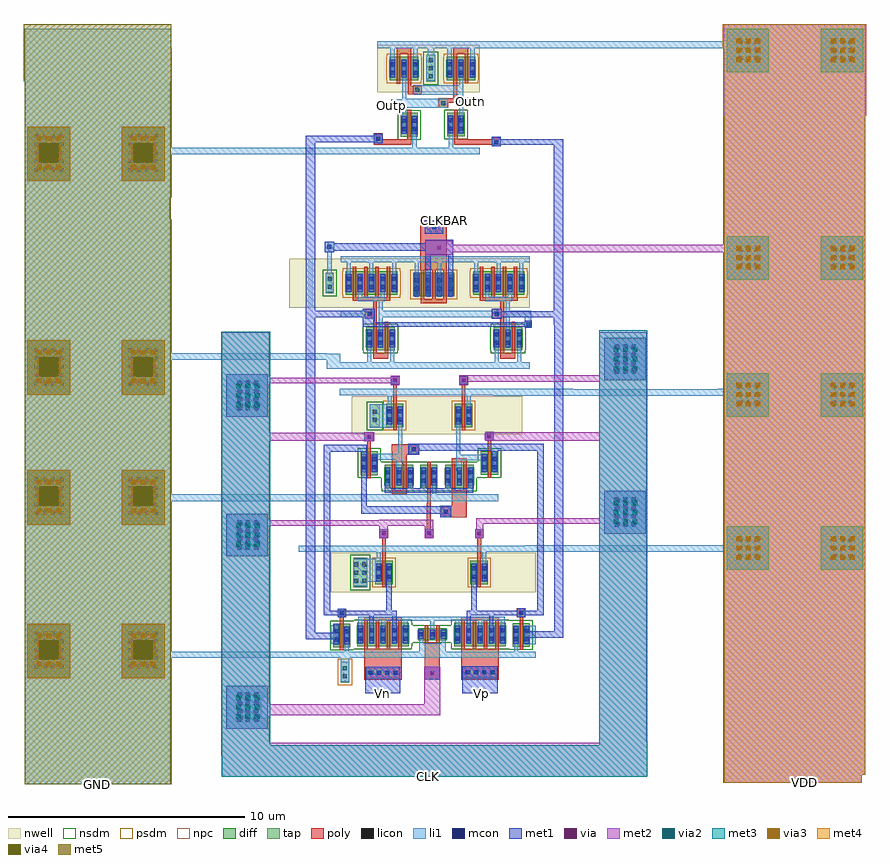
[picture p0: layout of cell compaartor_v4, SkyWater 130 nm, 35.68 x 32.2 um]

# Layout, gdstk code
import gdstk
lib = gdstk.Library(unit=1e-6, precision=1e-09)
def R(c, l, rs):  # rectangles x0, y0, x1, y1
    for r in rs: c.add(gdstk.rectangle(r[:2], r[2:], *l))
def A(c, l, x, y, w, h, nx, ny, dx, dy):  # array of equal rectangles
    R(c, l, [(x+i*dx, y+j*dy, x+i*dx+w, y+j*dy+h) for i in range(nx) for j in range(ny)])
nwell = (64, 20)
diff = (65, 20)
tap = (65, 44)
poly = (66, 20)
licon = (66, 44)
li1 = (67, 20)
mcon = (67, 44)
met1 = (68, 20)
via = (68, 44)
met2 = (69, 20)
via2 = (69, 44)
met3 = (70, 20)
via3 = (70, 44)
met4 = (71, 20)
via4 = (71, 44)
met5 = (72, 20)
nsdm = (93, 44)
psdm = (94, 20)
npc = (95, 20)

sky130_fd_pr__pfet_01v8_ = lib.new_cell('sky130_fd_pr__pfet_01v8_RFM3CD')
R(sky130_fd_pr__pfet_01v8_, nwell, [(-0.545,-0.81,0.545,0.81)])
R(sky130_fd_pr__pfet_01v8_, diff, [(-0.365,-0.5,0.365,0.5)])
R(sky130_fd_pr__pfet_01v8_, poly, [(-0.075,-0.63,0.075,0.63)])
R(sky130_fd_pr__pfet_01v8_, licon, [(-0.305,-0.255,-0.135,-0.085), (0.135,-0.255,0.305,-0.085), (-0.305,0.085,-0.135,0.255), (0.135,0.085,0.305,0.255)])
R(sky130_fd_pr__pfet_01v8_, li1, [(-0.305,-0.39,-0.135,0.39), (0.135,-0.39,0.305,0.39)])
R(sky130_fd_pr__pfet_01v8_, mcon, [(-0.305,-0.265,-0.135,-0.095), (0.135,-0.265,0.305,-0.095), (-0.305,0.095,-0.135,0.265), (0.135,0.095,0.305,0.265)])
R(sky130_fd_pr__pfet_01v8_, met1, [(-0.335,-0.37,-0.105,0.37), (0.105,-0.37,0.335,0.37)])
R(sky130_fd_pr__pfet_01v8_, psdm, [(-0.49,-0.625,0.49,0.625)])

sky130_fd_pr__nfet_01v8_ = lib.new_cell('sky130_fd_pr__nfet_01v8_XJTKXQ#0')
R(sky130_fd_pr__nfet_01v8_, diff, [(-0.605,-0.5,0.605,-0.37), (-0.625,-0.37,0.625,0.37), (-0.605,0.37,0.605,0.5)])
R(sky130_fd_pr__nfet_01v8_, poly, [(-0.315,-0.76,0.315,-0.59), (-0.315,-0.59,-0.165,0.61), (0.165,-0.59,0.315,0.61), (-0.315,0.61,0.315,0.77)])
A(sky130_fd_pr__nfet_01v8_, licon, -0.565, -0.255, 0.17, 0.17, 3, 2, 0.48, 0.34)
A(sky130_fd_pr__nfet_01v8_, li1, -0.565, -0.39, 0.17, 0.78, 3, 1, 0.48, 0)
A(sky130_fd_pr__nfet_01v8_, mcon, -0.565, -0.265, 0.17, 0.17, 3, 2, 0.48, 0.36)
A(sky130_fd_pr__nfet_01v8_, met1, -0.595, -0.37, 0.23, 0.74, 3, 1, 0.48, 0)
R(sky130_fd_pr__nfet_01v8_, nsdm, [(-0.73,-0.625,0.73,-0.495), (-0.75,-0.495,0.75,0.495), (-0.73,0.495,0.73,0.625)])

c_sky130_fd_pr__nfet_01v8_ = lib.new_cell('sky130_fd_pr__nfet_01v8_F5U58G#0')
R(c_sky130_fd_pr__nfet_01v8_, diff, [(-0.365,-0.5,0.365,0.5)])
R(c_sky130_fd_pr__nfet_01v8_, poly, [(-0.075,-0.63,0.075,0.63)])
R(c_sky130_fd_pr__nfet_01v8_, licon, [(-0.305,-0.255,-0.135,-0.085), (0.135,-0.255,0.305,-0.085), (-0.305,0.085,-0.135,0.255), (0.135,0.085,0.305,0.255)])
R(c_sky130_fd_pr__nfet_01v8_, li1, [(-0.305,-0.39,-0.135,0.39), (0.135,-0.39,0.305,0.39)])
R(c_sky130_fd_pr__nfet_01v8_, mcon, [(-0.305,-0.265,-0.135,-0.095), (0.135,-0.265,0.305,-0.095), (-0.305,0.095,-0.135,0.265), (0.135,0.095,0.305,0.265)])
R(c_sky130_fd_pr__nfet_01v8_, met1, [(-0.335,-0.37,-0.105,0.37), (0.105,-0.37,0.335,0.37)])
R(c_sky130_fd_pr__nfet_01v8_, nsdm, [(-0.49,-0.625,0.49,0.625)])

preamp_part2 = lib.new_cell('preamp_part2')
R(preamp_part2, poly, [(3.96,0.01,5.08,0.46), (4.45,0.46,5.08,1.13), (1.9,2.4,2.53,2.65), (1.9,2.65,3.07,3.1), (0.87,2.88,1.02,3.22), (5.97,2.9,6.12,3.26), (0.74,3.22,1.15,3.61), (5.85,3.26,6.23,3.57)])
R(preamp_part2, licon, [(4.11,0.16,4.28,0.33), (2.75,2.8,2.92,2.97), (0.86,3.33,1.03,3.5), (5.955,3.345,6.125,3.515)])
R(preamp_part2, li1, [(3.96,0.01,4.43,0.48), (0.58,0.69,6.41,0.98), (3.61,0.98,3.78,1.35), (4.64,1.97,4.88,2.42), (2.1,1.98,2.34,2.44), (4.64,2.42,5.94,2.66), (1.05,2.44,2.34,2.69), (2.6,2.65,3.07,3.12), (4.64,2.66,4.81,3.95), (2.17,2.69,2.34,3.98), (0.74,3.22,1.15,3.61), (5.85,3.26,6.23,3.57), (5.08,4.66,5.25,5.17), (1.73,4.69,1.9,5.17), (0.58,5.17,6.41,5.44)])
R(preamp_part2, mcon, [(4.11,0.16,4.28,0.33), (2.75,2.8,2.92,2.97), (0.86,3.33,1.03,3.5), (5.955,3.345,6.125,3.515)])
R(preamp_part2, met1, [(3.96,0.01,4.43,0.15), (0.61,0.15,4.43,0.46), (0.61,0.46,0.84,1.99), (3.96,0.46,4.43,0.48), (1.61,1.03,5.36,1.22), (1.61,1.22,1.85,1.44), (2.58,1.22,2.81,1.42), (3.14,1.22,3.37,1.46), (4.17,1.22,4.4,1.48), (5.13,1.22,5.36,1.42), (6.15,2.6,6.38,2.81), (2.6,2.65,3.07,2.81), (2.6,2.81,6.38,3.12), (0.74,3.22,1.15,3.61), (5.85,3.26,6.23,3.57)])
R(preamp_part2, via, [(0.87,3.34,1.02,3.49), (5.965,3.345,6.115,3.495)])
R(preamp_part2, met2, [(0.74,3.22,1.15,3.61), (5.9,3.24,6.18,3.26), (5.84,3.26,6.23,3.57), (5.9,3.57,6.18,3.6)])
R(preamp_part2, nsdm, [(2.945,1.105,2.985,1.235), (3.965,1.105,4.035,1.235), (2.965,1.235,2.985,2.225), (3.965,1.235,4.015,2.225), (1.435,1.665,1.465,2.225), (5.515,1.675,5.555,2.225), (1.435,2.225,1.485,2.355), (2.945,2.225,2.985,2.355), (3.965,2.225,4.035,2.355), (5.495,2.225,5.555,2.355)])
R(preamp_part2, npc, [(4.01,0.06,4.38,0.43), (2.65,2.7,3.02,3.07), (0.76,3.23,1.13,3.6), (5.855,3.245,6.225,3.615)])
preamp_part2.add(gdstk.Reference(sky130_fd_pr__pfet_01v8_, (4.945,4.32)))
preamp_part2.add(gdstk.Reference(sky130_fd_pr__pfet_01v8_, (2.035,4.32)))
preamp_part2.add(gdstk.Reference(sky130_fd_pr__nfet_01v8_, (4.765,1.73)))
preamp_part2.add(gdstk.Reference(sky130_fd_pr__nfet_01v8_, (2.215,1.73)))
preamp_part2.add(gdstk.Reference(c_sky130_fd_pr__nfet_01v8_, (6.045,2.3)))
preamp_part2.add(gdstk.Reference(c_sky130_fd_pr__nfet_01v8_, (0.945,2.29)))
preamp_part2.add(gdstk.Reference(c_sky130_fd_pr__nfet_01v8_, (3.475,1.73)))
preamp_part2.add(gdstk.Label('VDD', (6.41,5.31), layer=67, texttype=5))
preamp_part2.add(gdstk.Label('GND', (6.41,0.84), layer=67, texttype=5))

c_sky130_fd_pr__nfet_01v8__ = lib.new_cell('sky130_fd_pr__nfet_01v8_G6PLX8')
R(c_sky130_fd_pr__nfet_01v8__, diff, [(-1.085,-0.5,1.085,-0.37), (-1.105,-0.37,1.105,0.37), (-1.085,0.37,1.085,0.5)])
A(c_sky130_fd_pr__nfet_01v8__, poly, -0.795, -0.61, 0.15, 1.21, 4, 1, 0.48, 0)
R(c_sky130_fd_pr__nfet_01v8__, poly, [(-0.795,0.6,0.795,0.75)])
A(c_sky130_fd_pr__nfet_01v8__, licon, -1.045, -0.255, 0.17, 0.17, 5, 2, 0.48, 0.34)
A(c_sky130_fd_pr__nfet_01v8__, li1, -1.045, -0.39, 0.17, 0.78, 5, 1, 0.48, 0)
A(c_sky130_fd_pr__nfet_01v8__, mcon, -1.045, -0.265, 0.17, 0.17, 5, 2, 0.48, 0.36)
A(c_sky130_fd_pr__nfet_01v8__, met1, -1.075, -0.37, 0.23, 0.74, 5, 1, 0.48, 0)
R(c_sky130_fd_pr__nfet_01v8__, nsdm, [(-1.21,-0.625,1.21,-0.495), (-1.23,-0.495,1.23,0.495), (-1.21,0.495,1.21,0.625)])

c_sky130_fd_pr__nfet_01v8___ = lib.new_cell('sky130_fd_pr__nfet_01v8_F5U58G#1')
R(c_sky130_fd_pr__nfet_01v8___, diff, [(-0.365,-0.5,0.365,0.5)])
R(c_sky130_fd_pr__nfet_01v8___, poly, [(-0.075,-0.63,0.075,0.63)])
R(c_sky130_fd_pr__nfet_01v8___, licon, [(-0.305,-0.255,-0.135,-0.085), (0.135,-0.255,0.305,-0.085), (-0.305,0.085,-0.135,0.255), (0.135,0.085,0.305,0.255)])
R(c_sky130_fd_pr__nfet_01v8___, li1, [(-0.305,-0.39,-0.135,0.39), (0.135,-0.39,0.305,0.39)])
R(c_sky130_fd_pr__nfet_01v8___, mcon, [(-0.305,-0.265,-0.135,-0.095), (0.135,-0.265,0.305,-0.095), (-0.305,0.095,-0.135,0.265), (0.135,0.095,0.305,0.265)])
R(c_sky130_fd_pr__nfet_01v8___, met1, [(-0.335,-0.37,-0.105,0.37), (0.105,-0.37,0.335,0.37)])
R(c_sky130_fd_pr__nfet_01v8___, nsdm, [(-0.49,-0.625,0.49,0.625)])

c_sky130_fd_pr__nfet_01v8____ = lib.new_cell('sky130_fd_pr__nfet_01v8_8FHE5N')
R(c_sky130_fd_pr__nfet_01v8____, diff, [(-0.605,-0.25,0.605,-0.195), (-0.625,-0.195,0.625,0.195), (-0.605,0.195,0.605,0.25)])
R(c_sky130_fd_pr__nfet_01v8____, poly, [(-0.315,-0.38,-0.165,0.38), (0.165,-0.38,0.315,0.38)])
A(c_sky130_fd_pr__nfet_01v8____, licon, -0.565, -0.085, 0.17, 0.17, 3, 1, 0.48, 0)
A(c_sky130_fd_pr__nfet_01v8____, li1, -0.565, -0.215, 0.17, 0.43, 3, 1, 0.48, 0)
A(c_sky130_fd_pr__nfet_01v8____, mcon, -0.565, -0.085, 0.17, 0.17, 3, 1, 0.48, 0)
A(c_sky130_fd_pr__nfet_01v8____, met1, -0.595, -0.195, 0.23, 0.39, 3, 1, 0.48, 0)
R(c_sky130_fd_pr__nfet_01v8____, nsdm, [(-0.73,-0.375,0.73,-0.32), (-0.75,-0.32,0.75,0.32), (-0.73,0.32,0.73,0.375)])

preamp_part1 = lib.new_cell('preamp_part1')
R(preamp_part1, nwell, [(-3.6,2.41,5.09,4.08)])
A(preamp_part1, poly, 1.94, -0.01, 0.15, 0.03, 4, 1, 0.48, 0)
A(preamp_part1, poly, -2.17, 0.02, 0.15, 0.01, 4, 1, 0.48, 0)
R(preamp_part1, poly, [(-2.17,-1.3,-0.58,0.02), (1.94,-1.3,3.53,-0.01), (0.4,-1.29,1.03,0.29), (4.41,1.17,4.56,1.35), (-3.2,1.21,-3.05,1.34), (-3.28,1.34,-2.97,1.71), (4.32,1.35,4.63,1.72), (-1.41,3.77,-1.26,4.7), (2.62,3.82,2.78,4.7), (-1.51,4.7,-1.17,5.08), (2.53,4.7,2.87,5.08)])
A(preamp_part1, licon, -1.97, -1.09, 0.17, 0.17, 4, 1, 0.34, 0)
A(preamp_part1, licon, 2.14, -1.08, 0.17, 0.17, 4, 1, 0.34, 0)
R(preamp_part1, licon, [(0.625,-1.105,0.795,-0.935), (-3.2,1.44,-3.03,1.61), (4.4,1.45,4.57,1.62), (-1.425,4.81,-1.255,4.98), (2.625,4.81,2.795,4.98)])
R(preamp_part1, li1, [(0.39,-1.3,1.03,-0.76), (-2.11,-1.26,-0.64,-0.75), (1.99,-1.25,3.48,-0.74), (-3.6,-0.37,5.1,-0.11), (-2.99,-0.11,-2.82,0.26), (0.15,-0.11,1.28,0.24), (4.18,-0.11,4.35,0.27), (4.77,0.21,5.1,0.99), (-3.59,0.22,-3.26,1), (0.15,0.24,0.33,0.44), (1.11,0.24,1.28,0.43), (0.63,0.74,0.8,1.19), (-2.42,0.94,-2.25,1.19), (-0.5,0.95,-0.33,1.19), (1.69,0.96,1.86,1.19), (3.61,0.96,3.78,1.19), (-1.46,0.97,-1.29,1.19), (2.65,0.97,2.82,1.19), (-2.42,1.19,3.78,1.36), (-3.28,1.34,-2.97,1.71), (4.32,1.35,4.63,1.72), (-1.64,3.48,-1.47,4.12), (2.83,3.49,3,4.12), (-3.6,4.12,5.1,4.37), (-1.51,4.7,-1.17,5.08), (2.53,4.7,2.87,5.08)])
A(preamp_part1, mcon, -2, -1.085, 0.17, 0.17, 4, 1, 0.36, 0)
A(preamp_part1, mcon, 2.11, -1.08, 0.17, 0.17, 4, 1, 0.36, 0)
R(preamp_part1, mcon, [(0.63,-1.105,0.8,-0.935), (-3.205,1.44,-3.035,1.61), (4.395,1.45,4.565,1.62), (-1.425,4.81,-1.255,4.98), (2.625,4.81,2.795,4.98)])
R(preamp_part1, met1, [(0.39,-1.29,1.03,-0.76), (-2.11,-1.27,-0.64,-0.75), (1.99,-1.25,3.48,-0.74), (-0.99,0.75,-0.8,1.42), (-1.95,0.77,-1.76,1.42), (2.17,0.94,2.35,1.42), (-3.46,0.95,-3.24,1.06), (3.12,0.96,3.3,1.42), (-3.28,1.34,-2.97,1.42), (4.32,1.35,4.63,1.42), (-3.59,1.42,-0.8,1.63), (2.17,1.42,5.1,1.63), (-3.28,1.63,-2.97,1.71), (-1.24,1.63,-1,2.96), (2.36,1.63,2.6,3.1), (4.32,1.63,4.63,1.72), (-1.51,4.7,-1.17,5.08), (2.53,4.7,2.87,5.08)])
R(preamp_part1, nsdm, [(-2.635,-0.015,-2.585,0.115), (3.945,-0.015,3.995,0.115), (-2.635,0.115,-2.605,1.105), (3.965,0.115,3.995,1.105), (-0.145,0.255,-0.015,0.31), (1.445,0.255,1.505,0.31), (-0.145,0.31,-0.035,0.95), (1.465,0.31,1.505,0.95), (-0.145,0.95,-0.015,1.005), (1.445,0.95,1.505,1.005), (-2.635,1.105,-2.585,1.205), (3.945,1.105,3.995,1.225)])
R(preamp_part1, npc, [(0.525,-1.205,0.895,-0.835), (-2.07,-1.19,-0.68,-0.82), (2.04,-1.18,3.43,-0.81), (-3.3,1.34,-2.93,1.71), (4.3,1.35,4.67,1.72), (-1.525,4.71,-1.155,5.08), (2.525,4.71,2.895,5.08)])
preamp_part1.add(gdstk.Reference(sky130_fd_pr__pfet_01v8_, (2.695,3.24)))
preamp_part1.add(gdstk.Reference(sky130_fd_pr__pfet_01v8_, (-1.335,3.24)))
preamp_part1.add(gdstk.Reference(c_sky130_fd_pr__nfet_01v8__, (2.735,0.61)))
preamp_part1.add(gdstk.Reference(c_sky130_fd_pr__nfet_01v8__, (-1.375,0.61)))
preamp_part1.add(gdstk.Reference(c_sky130_fd_pr__nfet_01v8___, (4.485,0.6)))
preamp_part1.add(gdstk.Reference(c_sky130_fd_pr__nfet_01v8___, (-3.125,0.58)))
preamp_part1.add(gdstk.Reference(c_sky130_fd_pr__nfet_01v8____, (0.715,0.63)))
preamp_part1.add(gdstk.Label('VDD', (5.1,4.25), layer=67, texttype=5))
preamp_part1.add(gdstk.Label('GND', (5.1,-0.23), layer=67, texttype=5))

c_sky130_fd_pr__pfet_01v8_ = lib.new_cell('sky130_fd_pr__pfet_01v8_5SVZDE')
R(c_sky130_fd_pr__pfet_01v8_, nwell, [(-3.945,-0.98,4.025,1.11)])
R(c_sky130_fd_pr__pfet_01v8_, diff, [(-0.865,-0.5,0.865,0.5)])
A(c_sky130_fd_pr__pfet_01v8_, poly, -0.555, -0.62, 0.15, 1.24, 3, 1, 0.48, 0)
R(c_sky130_fd_pr__pfet_01v8_, poly, [(-0.555,-0.79,0.555,-0.62), (-0.555,0.62,0.555,0.79)])
A(c_sky130_fd_pr__pfet_01v8_, licon, -0.805, -0.425, 0.17, 0.17, 4, 3, 0.48, 0.34)
A(c_sky130_fd_pr__pfet_01v8_, li1, -0.805, -0.52, 0.17, 1.04, 4, 1, 0.48, 0)
A(c_sky130_fd_pr__pfet_01v8_, mcon, -0.805, -0.265, 0.17, 0.17, 4, 2, 0.48, 0.36)
A(c_sky130_fd_pr__pfet_01v8_, met1, -0.835, -0.5, 0.23, 1, 4, 1, 0.48, 0)
R(c_sky130_fd_pr__pfet_01v8_, psdm, [(-0.99,-0.625,0.99,0.625)])

c_sky130_fd_pr__pfet_01v8__ = lib.new_cell('sky130_fd_pr__pfet_01v8_AC5Z8B#0')
R(c_sky130_fd_pr__pfet_01v8__, nwell, [(-1.305,-1.05,1.315,1)])
R(c_sky130_fd_pr__pfet_01v8__, diff, [(-1.085,-0.5,1.085,-0.37), (-1.105,-0.37,1.105,0.37), (-1.085,0.37,1.085,0.5)])
A(c_sky130_fd_pr__pfet_01v8__, poly, -0.795, -0.6, 0.15, 1.29, 4, 1, 0.48, 0)
R(c_sky130_fd_pr__pfet_01v8__, poly, [(0.075,-1.04,0.225,-0.76), (-0.795,-0.76,0.805,-0.6)])
A(c_sky130_fd_pr__pfet_01v8__, licon, -1.045, -0.255, 0.17, 0.17, 5, 2, 0.48, 0.34)
A(c_sky130_fd_pr__pfet_01v8__, li1, -1.045, -0.39, 0.17, 1.35, 3, 1, 0.96, 0)
R(c_sky130_fd_pr__pfet_01v8__, li1, [(-1.305,-3.63,-1.115,-3.37), (1.125,-3.63,1.315,-3.37), (-1.305,-1.45,-1.125,-1.17), (1.085,-1.45,1.315,-1.17), (0.305,-1.1,0.475,-0.77), (-0.575,-0.77,0.565,-0.58), (-0.575,-0.58,-0.395,-0.34), (0.385,-0.58,0.565,-0.32), (-0.565,-0.34,-0.395,0.39), (0.395,-0.32,0.565,0.39), (-1.305,0.87,-1.185,1.12), (1.145,0.87,1.315,1.12)])
A(c_sky130_fd_pr__pfet_01v8__, mcon, -1.045, -0.265, 0.17, 0.17, 5, 2, 0.48, 0.36)
A(c_sky130_fd_pr__pfet_01v8__, met1, -1.075, -0.37, 0.23, 0.74, 5, 1, 0.48, 0)
R(c_sky130_fd_pr__pfet_01v8__, psdm, [(-1.21,-0.625,1.21,-0.495), (-1.23,-0.495,1.23,0.495), (-1.21,0.495,1.21,0.625)])

c_sky130_fd_pr__nfet_01v8_____ = lib.new_cell('sky130_fd_pr__nfet_01v8_XJTKXQ#1')
R(c_sky130_fd_pr__nfet_01v8_____, diff, [(-0.605,-0.5,0.605,-0.37), (-0.625,-0.37,0.625,0.37), (-0.605,0.37,0.605,0.5)])
R(c_sky130_fd_pr__nfet_01v8_____, poly, [(-0.315,-0.61,-0.165,0.61), (0.165,-0.61,0.315,0.61)])
A(c_sky130_fd_pr__nfet_01v8_____, licon, -0.565, -0.255, 0.17, 0.17, 3, 2, 0.48, 0.34)
A(c_sky130_fd_pr__nfet_01v8_____, li1, -0.565, -0.39, 0.17, 0.78, 3, 1, 0.48, 0)
A(c_sky130_fd_pr__nfet_01v8_____, mcon, -0.565, -0.265, 0.17, 0.17, 3, 2, 0.48, 0.36)
A(c_sky130_fd_pr__nfet_01v8_____, met1, -0.595, -0.37, 0.23, 0.74, 3, 1, 0.48, 0)
R(c_sky130_fd_pr__nfet_01v8_____, nsdm, [(-0.73,-0.625,0.73,-0.495), (-0.75,-0.495,0.75,0.495), (-0.73,0.495,0.73,0.625)])

inv_w2_0 = lib.new_cell('inv_W2#0')
R(inv_w2_0, poly, [(0.78,0.06,1.41,0.3), (0.78,1.49,0.93,1.76), (1.26,1.5,1.41,1.63), (0.42,1.76,0.93,2.18), (0.78,2.18,0.93,2.27)])
R(inv_w2_0, licon, [(0.54,1.88,0.71,2.05)])
R(inv_w2_0, li1, [(-0.5,-0.36,1.94,-0.1), (0.53,-0.1,0.7,0.57), (1.49,-0.1,1.66,0.58), (1.01,1.3,1.18,1.82), (0.42,1.76,0.84,1.82), (-0.5,1.82,0.84,2.1), (1.01,1.82,1.94,2.1), (0.42,2.1,0.84,2.18), (1.01,2.1,1.18,2.27), (0.53,4.13,0.7,4.14), (-0.5,4.14,1.94,4.39)])
R(inv_w2_0, npc, [(0.44,1.78,0.81,2.15)])
inv_w2_0.add(gdstk.Reference(c_sky130_fd_pr__pfet_01v8__, (0.705,3.27)))
inv_w2_0.add(gdstk.Reference(c_sky130_fd_pr__nfet_01v8_____, (1.095,0.91)))
inv_w2_0.add(gdstk.Label('Vin', (-0.5,1.95), layer=67, texttype=5))
inv_w2_0.add(gdstk.Label('Vout', (1.94,1.96), layer=67, texttype=5))
inv_w2_0.add(gdstk.Label('GND', (-0.5,-0.23), layer=67, texttype=5))
inv_w2_0.add(gdstk.Label('VDD', (-0.5,4.27), layer=67, texttype=5))

latch_2 = lib.new_cell('latch_2')
R(latch_2, li1, [(2.6,0,5.46,0.26), (2.4,2.18,5.6,2.46), (3.14,3.98,3.31,4.5), (4.1,4.01,4.27,4.5), (2.51,4.5,5.7,4.75)])
R(latch_2, met1, [(3.59,3.91,3.82,4.81), (4.55,3.92,4.78,4.81), (3.59,4.81,4.78,5.01)])
latch_2.add(gdstk.Reference(c_sky130_fd_pr__pfet_01v8_, (3.945,3.56)))
latch_2.add(gdstk.Reference(inv_w2_0, (5.99,0.36)))
latch_2.add(gdstk.Reference(inv_w2_0, (0.6,0.36)))

c_sky130_fd_pr__pfet_01v8___ = lib.new_cell('sky130_fd_pr__pfet_01v8_AC5E9B')
R(c_sky130_fd_pr__pfet_01v8___, nwell, [(-0.805,-1,0.325,-0.81), (-0.805,-0.81,0.805,0.81), (-0.325,0.81,0.805,1)])
R(c_sky130_fd_pr__pfet_01v8___, diff, [(-0.605,-0.5,0.605,-0.37), (-0.625,-0.37,0.625,0.37), (-0.605,0.37,0.605,0.5)])
R(c_sky130_fd_pr__pfet_01v8___, poly, [(-0.315,-0.65,-0.165,0.63), (0.165,-0.63,0.315,0.65)])
A(c_sky130_fd_pr__pfet_01v8___, licon, -0.565, -0.255, 0.17, 0.17, 3, 2, 0.48, 0.34)
A(c_sky130_fd_pr__pfet_01v8___, li1, -0.565, -0.39, 0.17, 0.78, 3, 1, 0.48, 0)
A(c_sky130_fd_pr__pfet_01v8___, mcon, -0.565, -0.265, 0.17, 0.17, 3, 2, 0.48, 0.36)
A(c_sky130_fd_pr__pfet_01v8___, met1, -0.595, -0.37, 0.23, 0.74, 3, 1, 0.48, 0)
R(c_sky130_fd_pr__pfet_01v8___, psdm, [(-0.73,-0.625,0.73,-0.495), (-0.75,-0.495,0.75,0.495), (-0.73,0.495,0.73,0.625)])

c_sky130_fd_pr__nfet_01v8______ = lib.new_cell('sky130_fd_pr__nfet_01v8_F5U58G')
R(c_sky130_fd_pr__nfet_01v8______, diff, [(-0.365,-0.5,0.365,0.5)])
R(c_sky130_fd_pr__nfet_01v8______, poly, [(-0.075,-0.63,0.075,0.63)])
R(c_sky130_fd_pr__nfet_01v8______, licon, [(-0.305,-0.255,-0.135,-0.085), (0.135,-0.255,0.305,-0.085), (-0.305,0.085,-0.135,0.255), (0.135,0.085,0.305,0.255)])
R(c_sky130_fd_pr__nfet_01v8______, li1, [(-0.305,-0.39,-0.135,0.39), (0.135,-0.39,0.305,0.39)])
R(c_sky130_fd_pr__nfet_01v8______, mcon, [(-0.305,-0.265,-0.135,-0.095), (0.135,-0.265,0.305,-0.095), (-0.305,0.095,-0.135,0.265), (0.135,0.095,0.305,0.265)])
R(c_sky130_fd_pr__nfet_01v8______, met1, [(-0.335,-0.37,-0.105,0.37), (0.105,-0.37,0.335,0.37)])
R(c_sky130_fd_pr__nfet_01v8______, nsdm, [(-0.49,-0.625,0.49,0.625)])

sr_latch = lib.new_cell('SR_latch')
R(sr_latch, nwell, [(0,2.62,4.36,4.63)])
R(sr_latch, poly, [(2.59,1.96,3.01,2.17), (2.59,2.17,3.39,2.37), (3.24,2.37,3.39,3.03), (1.31,2.54,1.9,2.88), (1.31,2.88,1.46,3.05), (0.83,4.24,1.46,4.51), (3.24,4.24,3.87,4.51)])
R(sr_latch, licon, [(2.72,2.065,2.89,2.235), (1.62,2.63,1.79,2.8)])
R(sr_latch, li1, [(0,0,4.36,0.26), (1.49,0.26,1.68,0.92), (3.03,0.26,3.22,0.97), (1.06,1.36,1.24,1.96), (3.48,1.58,3.66,2.52), (1.06,1.96,2.99,2.35), (1.06,2.35,1.24,3.26), (1.53,2.52,3.66,2.92), (3.48,2.92,3.66,3.48), (2.98,3.83,3.16,4.48), (3.95,3.84,4.13,4.48), (0.57,3.87,0.76,4.48), (1.54,3.88,1.72,4.48), (0.01,4.48,4.36,4.74)])
R(sr_latch, npc, [(2.62,1.965,2.99,2.335), (1.52,2.53,1.89,2.9)])
sr_latch.add(gdstk.Reference(c_sky130_fd_pr__pfet_01v8___, (3.555,3.63)))
sr_latch.add(gdstk.Reference(c_sky130_fd_pr__pfet_01v8___, (1.145,3.62)))
sr_latch.add(gdstk.Reference(c_sky130_fd_pr__nfet_01v8______, (3.345,1.25)))
sr_latch.add(gdstk.Reference(c_sky130_fd_pr__nfet_01v8______, (1.365,1.24)))
sr_latch.add(gdstk.Label('VDD', (4.36,4.67), layer=67, texttype=5))
sr_latch.add(gdstk.Label('GND', (4.35,0.13), layer=67, texttype=5))

compaartor_v4 = lib.new_cell('compaartor_v4')
R(compaartor_v4, nwell, [(0.88,3.89,2.03,5.22), (0.89,10.39,8.12,12.01), (-1.74,15.76,0.74,17.84), (3.91,25.26,4.7,26.68)])
R(compaartor_v4, tap, [(0.43,-0.12,0.79,0.76), (0.97,3.92,1.56,5.16), (1.66,10.69,2.08,11.66), (-0.21,16.38,0.13,17.24), (4.05,25.33,4.44,26.47)])
R(compaartor_v4, poly, [(4.01,6,4.35,6.38), (4.07,6.38,4.25,6.61), (4.08,6.61,4.24,7.45), (4.09,7.45,4.24,8.03), (2.65,11.74,2.8,12.47), (5.56,11.75,5.71,12.47), (2.55,12.47,2.92,12.88), (5.45,12.47,5.82,12.88), (3.8,17.39,4.92,19.45), (6.84,22.59,7.21,22.66), (1.83,22.66,3.41,22.89), (5.24,22.66,7.21,22.89), (1.83,22.89,2.22,23.15), (6.84,22.89,7.21,23), (3.26,24.06,3.41,24.1)])
A(compaartor_v4, licon, 1.01, 4.115, 0.17, 0.17, 1, 3, 0, 0.34)
A(compaartor_v4, licon, 1.35, 4.115, 0.17, 0.17, 1, 3, 0, 0.34)
A(compaartor_v4, licon, 4.16, 25.475, 0.17, 0.17, 1, 3, 0, 0.34)
R(compaartor_v4, licon, [(0.525,0.065,0.695,0.235), (0.525,0.405,0.695,0.575), (4.105,6.11,4.275,6.28), (1.785,10.92,1.955,11.09), (1.785,11.26,1.955,11.43), (2.655,12.6,2.825,12.77), (5.555,12.6,5.725,12.77), (-0.125,16.555,0.045,16.725), (-0.125,16.895,0.045,17.065), (4.305,19.08,4.475,19.25), (6.94,22.695,7.11,22.865), (1.94,22.825,2.11,22.995)])
R(compaartor_v4, li1, [(-12.96,-4.42,-6.73,0.93), (16.68,-4.37,22.51,-4.03), (16.68,-4.03,22.66,5.41), (-4.4,-2.08,-2.65,-1.61), (-4.4,-1.61,-2.94,-0.75), (-4.4,-0.75,-2.65,-0.26), (0.43,-0.08,0.79,1.01), (-12.96,0.93,0.13,1.19), (0.6,1.01,0.79,1.15), (-12.96,1.19,-6.73,7.57), (0.97,3.96,1.56,4.15), (0.97,4.15,2.13,5.12), (-4.4,5.23,-2.65,7.04), (8.25,5.41,22.66,5.69), (-1.35,5.42,0.31,5.67), (8.25,5.69,11.59,5.7), (13.35,5.69,22.66,5.7), (16.68,5.7,22.66,12.04), (4.01,6,4.35,6.38), (11.6,6.19,13.35,6.37), (11.59,6.37,13.35,6.66), (11.6,6.66,13.35,8), (-12.96,7.57,1.66,7.86), (-12.96,7.86,-6.73,13.55), (1.66,10.68,2.59,11.67), (-4.4,11.14,-2.65,12.68), (10.49,12.03,16.38,12.04), (6.91,12.04,22.66,12.31), (0.4,12.05,1.4,12.32), (6.91,12.31,10.29,12.32), (16.41,12.31,22.66,12.32), (16.68,12.32,22.66,26.76), (2.56,12.51,2.91,12.86), (5.46,12.51,5.81,12.86), (-4.41,12.68,-2.65,12.95), (11.6,12.68,13.35,13.58), (-0.16,13.17,0.42,13.18), (-0.16,13.18,0.73,13.44), (-0.16,13.44,0.42,13.55), (-12.96,13.55,0.42,13.81), (11.59,13.58,13.37,13.86), (-12.96,13.81,-0.17,13.82), (-12.96,13.82,-6.73,19.48), (11.6,13.86,13.35,14.22), (11.59,14.22,13.35,14.49), (8.23,14.96,8.51,15.64), (1.53,15.39,1.78,15.62), (6.92,15.39,7.17,15.62), (-0.21,16.42,0.13,17.2), (-0.14,17.2,0.05,18.11), (-0.25,18.11,0.16,18.55), (3.99,18.89,4.77,19.46), (-12.96,19.48,-6.81,20.45), (-12.96,20.45,-6.73,22.27), (-12.96,22.27,2.12,22.54), (-12.96,22.54,-6.73,26.76), (6.84,22.59,7.21,23), (1.84,22.72,2.21,23.13), (2.57,24.26,3.88,24.6), (5.45,24.31,5.95,24.68), (4.05,25.37,4.44,26.43), (4.11,26.43,4.4,26.87), (-12.96,26.76,-6.75,27.57), (5.74,26.76,22.66,26.99), (1.98,26.99,22.66,27.04), (13.06,27.04,22.66,27.05), (16.67,27.05,22.66,27.07), (16.68,27.07,22.66,27.78)])
A(compaartor_v4, mcon, -3.95, -1.79, 0.17, 0.17, 3, 4, 0.36, 0.36)
A(compaartor_v4, mcon, -12.56, 0.46, 0.17, 0.17, 4, 5, 0.36, 0.36)
A(compaartor_v4, mcon, -8.56, 0.46, 0.17, 0.17, 4, 5, 0.36, 0.36)
A(compaartor_v4, mcon, 17.255, 5.135, 0.17, 0.17, 3, 3, 0.36, 0.36)
A(compaartor_v4, mcon, 21.255, 5.135, 0.17, 0.17, 3, 3, 0.36, 0.36)
A(compaartor_v4, mcon, -3.95, 5.51, 0.17, 0.17, 3, 4, 0.36, 0.36)
A(compaartor_v4, mcon, 12.05, 6.47, 0.17, 0.17, 3, 4, 0.36, 0.36)
A(compaartor_v4, mcon, -12.56, 6.96, 0.17, 0.17, 4, 5, 0.36, 0.36)
A(compaartor_v4, mcon, -8.56, 6.96, 0.17, 0.17, 4, 5, 0.36, 0.36)
A(compaartor_v4, mcon, -3.95, 11.42, 0.17, 0.17, 3, 4, 0.36, 0.36)
A(compaartor_v4, mcon, 17.255, 11.635, 0.17, 0.17, 3, 3, 0.36, 0.36)
A(compaartor_v4, mcon, 21.255, 11.635, 0.17, 0.17, 3, 3, 0.36, 0.36)
A(compaartor_v4, mcon, -12.56, 12.46, 0.17, 0.17, 4, 5, 0.36, 0.36)
A(compaartor_v4, mcon, -8.56, 12.46, 0.17, 0.17, 4, 5, 0.36, 0.36)
A(compaartor_v4, mcon, 12.05, 12.96, 0.17, 0.17, 3, 4, 0.36, 0.36)
A(compaartor_v4, mcon, 17.255, 17.435, 0.17, 0.17, 3, 3, 0.36, 0.36)
A(compaartor_v4, mcon, 21.255, 17.435, 0.17, 0.17, 3, 3, 0.36, 0.36)
A(compaartor_v4, mcon, -12.56, 21.52, 0.17, 0.17, 4, 5, 0.36, 0.36)
A(compaartor_v4, mcon, -8.56, 21.52, 0.17, 0.17, 4, 5, 0.36, 0.36)
A(compaartor_v4, mcon, 17.255, 26.225, 0.17, 0.17, 3, 3, 0.36, 0.36)
A(compaartor_v4, mcon, 21.255, 26.225, 0.17, 0.17, 3, 3, 0.36, 0.36)
R(compaartor_v4, mcon, [(4.105,6.11,4.275,6.28), (2.655,12.6,2.825,12.77), (5.555,12.6,5.725,12.77), (8.285,14.97,8.455,15.14), (1.57,15.42,1.74,15.59), (6.96,15.42,7.13,15.59), (-0.13,18.255,0.04,18.425), (4.305,19.08,4.475,19.25), (6.94,22.695,7.11,22.865), (1.94,22.825,2.11,22.995)])
R(compaartor_v4, met1, [(-4.41,-2.08,-2.65,-0.26), (1.48,-0.58,2.95,0.54), (5.58,-0.58,7.08,0.56), (4.06,0.05,4.55,0.49), (-12.85,0.07,-11.02,2.38), (-8.85,0.07,-7.02,2.38), (-1.04,1.71,0.35,1.99), (8.19,1.78,9.87,2.06), (-1.04,1.99,-0.64,15.36), (9.47,2.06,9.87,15.01), (-0.29,2.72,0.2,2.93), (8.58,2.72,9.03,2.93), (-0.29,2.93,-0.01,9.65), (8.75,2.93,9.03,9.69), (16.78,4.65,18.57,6.49), (20.78,4.65,22.57,6.49), (-4.41,5.23,-2.65,7.04), (4.01,6,4.35,6.38), (2.12,6.03,2.4,6.34), (6.17,6.05,6.45,6.34), (11.59,6.19,13.35,8), (-12.85,6.57,-11.02,8.88), (-8.85,6.57,-7.02,8.88), (1.3,9.44,1.52,9.5), (1.3,9.5,1.53,9.65), (-0.29,9.65,1.53,9.96), (6.01,9.69,9.03,10), (-4.41,11.14,-2.65,12.95), (16.78,11.15,18.57,12.98), (20.78,11.15,22.57,12.98), (-12.85,12.07,-11.02,14.38), (-8.85,12.07,-7.02,14.38), (2.56,12.51,2.91,12.86), (5.46,12.51,5.81,12.86), (11.59,12.68,13.35,14.49), (8.23,14.9,8.52,14.96), (1.36,14.96,8.52,15.15), (9.46,15.01,9.87,15.36), (1.36,15.15,1.87,15.36), (8.23,15.15,8.52,15.2), (6.84,15.3,7.26,15.36), (-1.04,15.36,1.87,15.64), (6.84,15.36,9.87,15.61), (6.84,15.61,7.26,15.72), (9.46,15.61,9.86,19.61), (-1.04,15.64,-0.64,18.96), (1.36,15.64,1.87,15.72), (16.78,16.95,18.57,18.78), (20.78,16.95,22.57,18.78), (4.02,18,5.21,18.18), (-0.25,18.11,0.16,18.18), (-0.25,18.18,5.21,18.49), (-0.25,18.49,0.16,18.55), (4.02,18.49,5.21,18.64), (3.99,18.89,4.77,19.46), (-1.05,18.96,-0.64,22.77), (9.45,19.61,9.86,22.66), (-12.85,21.13,-11.02,23.42), (-8.85,21.13,-7.02,23.42), (6.84,22.59,7.21,22.67), (9.43,22.66,9.86,22.67), (6.84,22.67,9.86,22.9), (1.84,22.72,2.21,22.77), (-1.05,22.77,2.21,23.05), (6.84,22.9,7.21,23), (1.84,23.05,2.21,23.13), (16.79,25.74,18.57,27.57), (20.78,25.74,22.57,27.57)])
A(compaartor_v4, via, -3.9, -1.72, 0.15, 0.15, 3, 4, 0.32, 0.32)
A(compaartor_v4, via, -12.49, 0.55, 0.15, 0.15, 4, 5, 0.32, 0.32)
A(compaartor_v4, via, -8.49, 0.55, 0.15, 0.15, 4, 5, 0.32, 0.32)
A(compaartor_v4, via, 17.305, 5.185, 0.15, 0.15, 3, 3, 0.32, 0.32)
A(compaartor_v4, via, 21.305, 5.185, 0.15, 0.15, 3, 3, 0.32, 0.32)
A(compaartor_v4, via, -3.9, 5.58, 0.15, 0.15, 3, 4, 0.32, 0.32)
A(compaartor_v4, via, 12.1, 6.54, 0.15, 0.15, 3, 4, 0.32, 0.32)
A(compaartor_v4, via, -12.49, 7.05, 0.15, 0.15, 4, 5, 0.32, 0.32)
A(compaartor_v4, via, -8.49, 7.05, 0.15, 0.15, 4, 5, 0.32, 0.32)
A(compaartor_v4, via, -3.9, 11.49, 0.15, 0.15, 3, 4, 0.32, 0.32)
A(compaartor_v4, via, 17.305, 11.685, 0.15, 0.15, 3, 3, 0.32, 0.32)
A(compaartor_v4, via, 21.305, 11.685, 0.15, 0.15, 3, 3, 0.32, 0.32)
A(compaartor_v4, via, -12.49, 12.55, 0.15, 0.15, 4, 5, 0.32, 0.32)
A(compaartor_v4, via, -8.49, 12.55, 0.15, 0.15, 4, 5, 0.32, 0.32)
A(compaartor_v4, via, 12.1, 13.03, 0.15, 0.15, 3, 4, 0.32, 0.32)
A(compaartor_v4, via, 17.305, 17.485, 0.15, 0.15, 3, 3, 0.32, 0.32)
A(compaartor_v4, via, 21.305, 17.485, 0.15, 0.15, 3, 3, 0.32, 0.32)
A(compaartor_v4, via, -12.49, 21.61, 0.15, 0.15, 4, 5, 0.32, 0.32)
A(compaartor_v4, via, -8.49, 21.61, 0.15, 0.15, 4, 5, 0.32, 0.32)
A(compaartor_v4, via, 17.305, 26.275, 0.15, 0.15, 3, 3, 0.32, 0.32)
A(compaartor_v4, via, 21.305, 26.275, 0.15, 0.15, 3, 3, 0.32, 0.32)
R(compaartor_v4, via, [(4.23,0.195,4.38,0.345), (2.185,6.11,2.335,6.26), (4.115,6.12,4.265,6.27), (6.235,6.12,6.385,6.27), (2.675,12.615,2.825,12.765), (5.575,12.615,5.725,12.765), (4.515,18.235,4.665,18.385)])
R(compaartor_v4, met2, [(16.64,-4.37,22.51,-4.03), (-4.6,-4.12,13.41,-2.68), (16.64,-4.03,22.66,18.1), (-4.6,-2.68,-2.59,-1.5), (11.39,-2.68,13.4,6.6), (-4.6,-1.5,4.65,-1.05), (-4.6,-1.05,-2.59,6.52), (3.97,-1.05,4.64,0.55), (-12.85,0.07,-11.02,2.38), (-8.85,0.07,-7.02,2.38), (2.06,6,2.43,6.52), (4,6,4.36,6.52), (6.13,6,6.47,6.38), (6.17,6.38,6.47,6.6), (-4.6,6.52,4.36,6.76), (-12.85,6.57,-11.02,8.88), (-8.85,6.57,-7.02,8.88), (6.17,6.6,13.4,6.85), (-4.6,6.76,-2.59,10.13), (2.06,6.76,4.36,6.77), (4,6.77,4.36,6.78), (11.39,6.85,13.4,10.12), (6.6,10.12,13.4,10.48), (-4.6,10.13,1.85,10.46), (-4.6,10.46,-2.59,12.55), (11.39,10.48,13.4,12.63), (-12.85,12.07,-11.02,14.38), (-8.85,12.07,-7.02,14.38), (2.55,12.47,2.92,12.55), (5.45,12.47,5.82,12.63), (-4.6,12.55,2.92,12.79), (5.45,12.63,13.4,12.89), (-4.6,12.79,-2.59,14.71), (2.55,12.79,2.92,12.88), (5.78,12.89,13.4,12.9), (11.39,12.9,13.4,14.72), (4.02,18.01,5.16,18.1), (4.02,18.1,22.66,18.43), (4.02,18.43,5.16,18.59), (16.64,18.43,22.66,27.78), (-12.85,21.13,-11.02,23.42), (-8.85,21.13,-7.02,23.42)])
A(compaartor_v4, via2, -4.005, -1.665, 0.2, 0.2, 3, 3, 0.4, 0.4)
A(compaartor_v4, via2, -12.435, 0.565, 0.2, 0.2, 3, 4, 0.4, 0.4)
A(compaartor_v4, via2, -8.435, 0.565, 0.2, 0.2, 3, 4, 0.4, 0.4)
A(compaartor_v4, via2, 17.2, 5.08, 0.2, 0.2, 3, 3, 0.4, 0.4)
A(compaartor_v4, via2, 21.2, 5.08, 0.2, 0.2, 3, 3, 0.4, 0.4)
A(compaartor_v4, via2, -4.005, 5.635, 0.2, 0.2, 3, 3, 0.4, 0.4)
A(compaartor_v4, via2, 11.995, 6.595, 0.2, 0.2, 3, 3, 0.4, 0.4)
A(compaartor_v4, via2, -12.435, 7.065, 0.2, 0.2, 3, 4, 0.4, 0.4)
A(compaartor_v4, via2, -8.435, 7.065, 0.2, 0.2, 3, 4, 0.4, 0.4)
A(compaartor_v4, via2, -4.005, 11.545, 0.2, 0.2, 3, 3, 0.4, 0.4)
A(compaartor_v4, via2, 17.2, 11.58, 0.2, 0.2, 3, 3, 0.4, 0.4)
A(compaartor_v4, via2, 21.2, 11.58, 0.2, 0.2, 3, 3, 0.4, 0.4)
A(compaartor_v4, via2, -12.435, 12.565, 0.2, 0.2, 3, 4, 0.4, 0.4)
A(compaartor_v4, via2, -8.435, 12.565, 0.2, 0.2, 3, 4, 0.4, 0.4)
A(compaartor_v4, via2, 11.995, 13.085, 0.2, 0.2, 3, 3, 0.4, 0.4)
A(compaartor_v4, via2, 17.2, 17.38, 0.2, 0.2, 3, 3, 0.4, 0.4)
A(compaartor_v4, via2, 21.2, 17.38, 0.2, 0.2, 3, 3, 0.4, 0.4)
A(compaartor_v4, via2, -12.435, 21.625, 0.2, 0.2, 3, 4, 0.4, 0.4)
A(compaartor_v4, via2, -8.435, 21.625, 0.2, 0.2, 3, 4, 0.4, 0.4)
A(compaartor_v4, via2, 17.2, 26.17, 0.2, 0.2, 3, 3, 0.4, 0.4)
A(compaartor_v4, via2, 21.2, 26.17, 0.2, 0.2, 3, 3, 0.4, 0.4)
R(compaartor_v4, met3, [(-4.6,-4.12,13.42,-3.23), (-4.62,-3.23,13.42,-2.78), (-4.62,-2.78,-2.55,14.74), (11.38,-2.78,13.42,-1.78), (11.38,-1.78,13.41,-0.55), (11.38,-0.55,13.42,14.72), (-12.85,0.07,-11.02,2.38), (-8.85,0.07,-7.02,2.38), (16.78,4.65,18.57,6.49), (20.78,4.65,22.57,6.49), (-12.85,6.57,-11.02,8.88), (-8.85,6.57,-7.02,8.88), (16.78,11.15,18.57,12.98), (20.78,11.15,22.57,12.98), (-12.85,12.07,-11.02,14.38), (-8.85,12.07,-7.02,14.38), (11.39,14.72,13.42,14.8), (16.78,16.95,18.57,18.78), (20.78,16.95,22.57,18.78), (-12.85,21.13,-11.02,23.42), (-8.85,21.13,-7.02,23.42), (16.79,25.74,18.57,27.57), (20.78,25.74,22.57,27.57)])
A(compaartor_v4, via3, -12.435, 0.565, 0.2, 0.2, 3, 4, 0.4, 0.4)
A(compaartor_v4, via3, -8.435, 0.565, 0.2, 0.2, 3, 4, 0.4, 0.4)
A(compaartor_v4, via3, 17.2, 5.08, 0.2, 0.2, 3, 3, 0.4, 0.4)
A(compaartor_v4, via3, 21.2, 5.08, 0.2, 0.2, 3, 3, 0.4, 0.4)
A(compaartor_v4, via3, -12.435, 7.065, 0.2, 0.2, 3, 4, 0.4, 0.4)
A(compaartor_v4, via3, -8.435, 7.065, 0.2, 0.2, 3, 4, 0.4, 0.4)
A(compaartor_v4, via3, 17.2, 11.58, 0.2, 0.2, 3, 3, 0.4, 0.4)
A(compaartor_v4, via3, 21.2, 11.58, 0.2, 0.2, 3, 3, 0.4, 0.4)
A(compaartor_v4, via3, -12.435, 12.565, 0.2, 0.2, 3, 4, 0.4, 0.4)
A(compaartor_v4, via3, -8.435, 12.565, 0.2, 0.2, 3, 4, 0.4, 0.4)
A(compaartor_v4, via3, 17.2, 17.38, 0.2, 0.2, 3, 3, 0.4, 0.4)
A(compaartor_v4, via3, 21.2, 17.38, 0.2, 0.2, 3, 3, 0.4, 0.4)
A(compaartor_v4, via3, -12.435, 21.625, 0.2, 0.2, 3, 4, 0.4, 0.4)
A(compaartor_v4, via3, -8.435, 21.625, 0.2, 0.2, 3, 4, 0.4, 0.4)
A(compaartor_v4, via3, 17.2, 26.17, 0.2, 0.2, 3, 3, 0.4, 0.4)
A(compaartor_v4, via3, 21.2, 26.17, 0.2, 0.2, 3, 3, 0.4, 0.4)
R(compaartor_v4, met4, [(16.68,-4.37,22.51,-4.03), (16.68,-4.03,22.66,23.89), (-12.85,0.07,-11.02,2.38), (-8.85,0.07,-7.02,2.38), (-12.85,6.57,-11.02,8.88), (-8.85,6.57,-7.02,8.88), (-12.85,12.07,-11.02,14.38), (-8.85,12.07,-7.02,14.38), (-12.85,21.13,-11.02,23.42), (-8.85,21.13,-7.02,23.42), (16.64,23.89,22.69,24.58), (16.63,24.58,22.69,25.27), (16.64,25.27,22.69,26.75), (16.62,26.75,22.69,27.78)])
R(compaartor_v4, via4, [(-12.335,0.865,-11.535,1.665), (-8.335,0.865,-7.535,1.665), (-12.335,7.365,-11.535,8.165), (-8.335,7.365,-7.535,8.165), (-12.335,12.865,-11.535,13.665), (-8.335,12.865,-7.535,13.665), (-12.335,21.925,-11.535,22.725), (-8.335,21.925,-7.535,22.725)])
R(compaartor_v4, met5, [(-12.96,-4.42,-6.77,25.36), (-12.99,25.36,-6.75,27.78)])
R(compaartor_v4, nsdm, [(0.845,3.795,1.685,5.285), (1.535,10.565,2.205,11.785), (-0.335,16.255,0.255,17.365), (3.925,25.205,4.565,26.595)])
R(compaartor_v4, psdm, [(0.305,-0.245,0.915,0.885)])
R(compaartor_v4, npc, [(4.005,6.01,4.375,6.38), (2.555,12.5,2.925,12.87), (5.455,12.5,5.825,12.87), (4.205,18.98,4.575,19.35), (6.84,22.595,7.21,22.965), (1.84,22.725,2.21,23.095)])
compaartor_v4.add(gdstk.Reference(preamp_part2, (0.69,6.88)))
compaartor_v4.add(gdstk.Reference(preamp_part1, (3.6,1.3)))
compaartor_v4.add(gdstk.Reference(latch_2, (0.43,13.18)))
compaartor_v4.add(gdstk.Reference(sr_latch, (1.97,22.27)))
compaartor_v4.add(gdstk.Label('CLK', (4.13,-4.12), layer=70, texttype=5))
compaartor_v4.add(gdstk.Label('Vn', (2.2,-0.58), layer=68, texttype=5))
compaartor_v4.add(gdstk.Label('Vp', (6.4,-0.58), layer=68, texttype=5))
compaartor_v4.add(gdstk.Label('Outp', (2.57,24.31), layer=67, texttype=5))
compaartor_v4.add(gdstk.Label('Outn', (5.95,24.48), layer=67, texttype=5))
compaartor_v4.add(gdstk.Label('GND', (-9.88,-4.42), layer=72, texttype=5))
compaartor_v4.add(gdstk.Label('VDD', (20.08,-4.37), layer=71, texttype=5))
compaartor_v4.add(gdstk.Label('CLKBAR', (4.83,19.45), layer=66, texttype=5))

lib.write_gds('compaartor_v4.gds')
